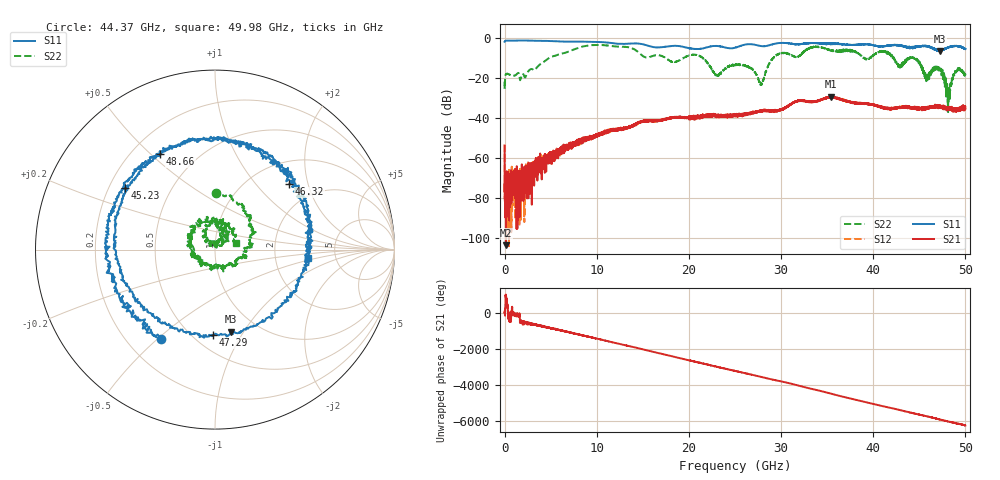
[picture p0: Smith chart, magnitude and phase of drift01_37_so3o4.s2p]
!Created with skrf (http://scikit-rf.org).
# Hz S RI R 50.0
!freq ReS11 ImS11 ReS21 ImS21 ReS12 ImS12 ReS22 ImS22
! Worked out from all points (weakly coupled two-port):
!   10001 points, 300 kHz to 50 GHz, reference 50 ohm
!   highest |S21| = -29.51 dB at 35.4 GHz (marker M1); lowest = -104.0 dB at 135.3 MHz (marker M2)
!   lowest |S11| = -6.6 dB at 47.21 GHz (marker M3), VSWR 2.74, Z = 37.6 - j43.9 ohm
!   |S11| at or under -10 dB: nowhere
!   |S22| runs from -37.2 to -3.6 dB; largest |S21 - S12| = 0.0039
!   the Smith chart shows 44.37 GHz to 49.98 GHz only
!   S11 on the Smith chart (normalised r, x): 44.37 GHz: 0.34, -0.51; 45.23 GHz: 0.26, +0.29; 46.32 GHz: 1.46, +1.53; 47.29 GHz: 0.62, -0.76; 48.66 GHz: 0.31, +0.53; 49.98 GHz: 3.09, -0.41
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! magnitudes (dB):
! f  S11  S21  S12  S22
! 300 kHz  -2.1  -54.3  -53.4  -22.0
! 135.3 MHz  -1.5  -104.0  -70.7  -18.3
! 510.3 MHz  -1.5  -78.3  -82.7  -18.4
! 8.335 GHz  -2.0  -51.5  -51.1  -4.6
! 16.67 GHz  -4.8  -41.4  -41.7  -8.7
! 20.96 GHz  -5.6  -39.4  -39.8  -8.8
! 23.07 GHz  -4.1  -39.4  -39.2  -18.9
! 25 GHz  -5.0  -39.2  -38.8  -13.6
! 27.84 GHz  -4.1  -36.8  -36.7  -23.1
! 29.46 GHz  -2.9  -36.7  -36.4  -8.8
! 33.34 GHz  -2.6  -32.0  -32.0  -4.7
! 35.4 GHz  -2.9  -29.5  -29.9  -6.2
! 41.67 GHz  -3.9  -35.3  -35.4  -7.8
! 44.37 GHz  -4.7  -35.3  -34.9  -10.0
! 45.23 GHz  -4.3  -35.7  -35.5  -14.2
! 46.32 GHz  -5.2  -34.9  -34.7  -16.9
! 47.21 GHz  -6.6  -34.1  -34.3  -16.5
! 47.29 GHz  -6.4  -35.2  -34.8  -16.3
! 48.12 GHz  -4.9  -34.7  -35.0  -36.2
! 48.66 GHz  -4.2  -37.1  -35.6  -19.9
! 49.98 GHz  -5.7  -34.2  -34.5  -18.4
! 50 GHz  -5.6  -35.5  -35.6  -18.5
